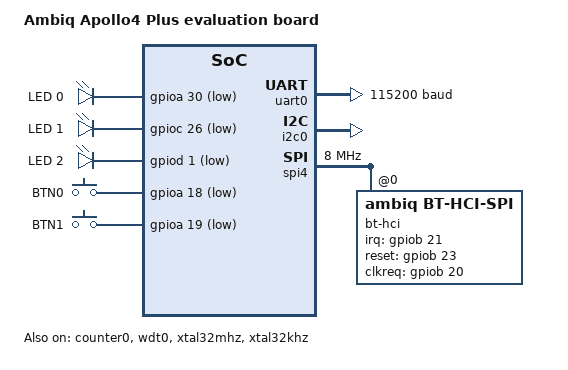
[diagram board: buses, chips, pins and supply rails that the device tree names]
/dts-v1/;
#include <ambiq/ambiq_apollo4p.dtsi>

#include "apollo4p_evb-pinctrl.dtsi"

/ {
	model = "Ambiq Apollo4 Plus evaluation board";
	compatible = "ambiq,apollo4p_evb";
	chosen {
		zephyr,itcm = &tcm;
		zephyr,sram = &sram0;
		zephyr,flash = &flash0;
		zephyr,console = &uart0;
		zephyr,shell-uart = &uart0;
		zephyr,uart-pipe = &uart0;
	};
	aliases {
		watchdog0 = &wdt0;
		led0 = &led0;
		led1 = &led1;
		led2 = &led2;
		sw0 = &button0;
		sw1 = &button1;
	};

	leds {
		compatible = "gpio-leds";
		led0: led_0 {
			gpios = <&gpioa 30 GPIO_ACTIVE_LOW>;
			label = "LED 0";
		};
		led1: led_1 {
			gpios = <&gpioc 26 GPIO_ACTIVE_LOW>;
			label = "LED 1";
		};
		led2: led_2 {
			gpios = <&gpiod 1 GPIO_ACTIVE_LOW>;
			label = "LED 2";
		};
	};
	buttons {
		compatible = "gpio-keys";
		button0: button_0 {
			gpios = <&gpioa 18 GPIO_ACTIVE_LOW>;
			label = "BTN0";
		};
		button1: button_1 {
			gpios = <&gpioa 19 GPIO_ACTIVE_LOW>;
			label = "BTN1";
		};
	};

};

&uart0 {
	current-speed = <115200>;
	pinctrl-0 = <&uart0_default>;
	pinctrl-names = "default";
	status = "okay";
};

&counter0 {
	status = "okay";
};

&wdt0 {
	status = "okay";
};

&i2c0 {
	pinctrl-0 = <&i2c0_default>;
	pinctrl-names = "default";
	status = "okay";
};

&spi4 {
	pinctrl-0 = <&spi_hci>;
	pinctrl-names = "default";
	status = "okay";
    clock-frequency = <8000000>;

	bt-hci@0 {
		compatible = "ambiq,bt-hci-spi";
		irq-gpios = <&gpiob 21 GPIO_ACTIVE_HIGH>;
		reset-gpios = <&gpiob 23 GPIO_ACTIVE_HIGH>;
		clkreq-gpios = <&gpiob 20 GPIO_ACTIVE_HIGH>;
		cs-gpios = <&gpiob 22 GPIO_ACTIVE_HIGH>;
	};
};

&xtal32mhz {
	pinctrl-0 = <&xtal32mhz_default>;
	pinctrl-names = "default";
	status = "okay";
};

&xtal32khz {
	pinctrl-0 = <&xtal32khz_default>;
	pinctrl-names = "default";
	status = "okay";
};

&gpioa {
	status = "okay";
};

&gpiob {
	status = "okay";
};

&gpioc {
	status = "okay";
};

&gpiod {
	status = "okay";
};
